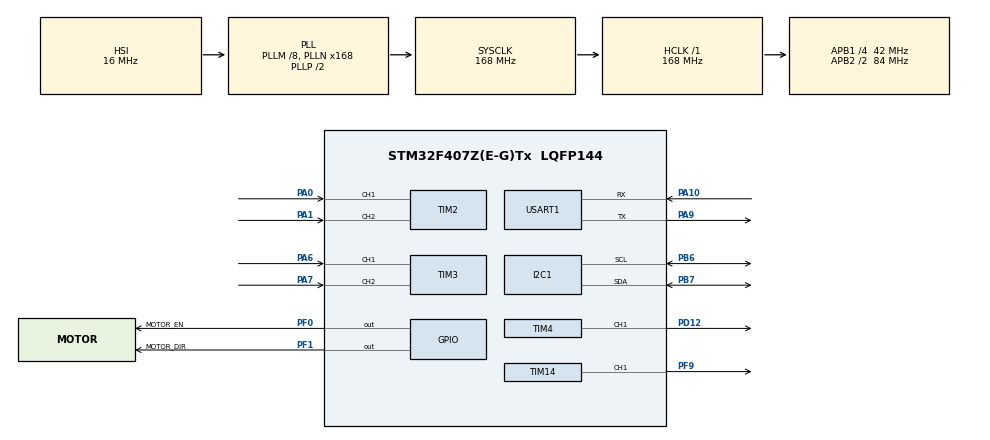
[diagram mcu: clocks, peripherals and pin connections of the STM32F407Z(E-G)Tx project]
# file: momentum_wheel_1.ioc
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I2C1.I2C_Mode=I2C_Fast
Mcu.Family=STM32F4
Mcu.Name=STM32F407Z(E-G)Tx
Mcu.Package=LQFP144
NVIC.PriorityGroup=NVIC_PRIORITYGROUP_4
NVIC.TIM6_DAC_IRQn=true\:0\:0\:false\:false\:true\:true\:true
NVIC.TIM7_IRQn=true\:0\:0\:false\:false\:true\:true\:true
NVIC.USART1_IRQn=true\:0\:0\:false\:false\:true\:true\:true
PA0-WKUP.Signal=S_TIM2_CH1_ETR
PA1.Signal=S_TIM2_CH2
PA10.Mode=Asynchronous
PA10.Signal=USART1_RX
PA13.Mode=JTAG_5_pins
PA13.Signal=SYS_JTMS-SWDIO
PA14.Mode=JTAG_5_pins
PA14.Signal=SYS_JTCK-SWCLK
PA15.Mode=JTAG_5_pins
PA15.Signal=SYS_JTDI
PA6.Signal=S_TIM3_CH1
PA7.Signal=S_TIM3_CH2
PA9.Mode=Asynchronous
PA9.Signal=USART1_TX
PB3.Mode=JTAG_5_pins
PB3.Signal=SYS_JTDO-SWO
PB4.Mode=JTAG_5_pins
PB4.Signal=SYS_JTRST
PB6.Mode=I2C
PB6.Signal=I2C1_SCL
PB7.Mode=I2C
PB7.Signal=I2C1_SDA
PC14-OSC32_IN.Mode=LSE-External-Oscillator
PC14-OSC32_IN.Signal=RCC_OSC32_IN
PC15-OSC32_OUT.Mode=LSE-External-Oscillator
PC15-OSC32_OUT.Signal=RCC_OSC32_OUT
PD12.Signal=S_TIM4_CH1
PF0.GPIO_Label=MOTOR_EN
PF0.Signal=GPIO_Output
PF1.GPIO_Label=MOTOR_DIR
PF1.Signal=GPIO_Output
PF9.Signal=S_TIM14_CH1
PH0-OSC_IN.Mode=HSE-External-Oscillator
PH0-OSC_IN.Signal=RCC_OSC_IN
PH1-OSC_OUT.Mode=HSE-External-Oscillator
PH1-OSC_OUT.Signal=RCC_OSC_OUT
ProjectManager.HeapSize=0x200
ProjectManager.StackSize=0x400
ProjectManager.TargetToolchain=STM32CubeIDE
RCC.48MHZClocksFreq_Value=84000000
RCC.AHBFreq_Value=168000000
RCC.APB1CLKDivider=RCC_HCLK_DIV4
RCC.APB1Freq_Value=42000000
RCC.APB1TimFreq_Value=84000000
RCC.APB2CLKDivider=RCC_HCLK_DIV2
RCC.APB2Freq_Value=84000000
RCC.APB2TimFreq_Value=168000000
RCC.CortexFreq_Value=168000000
RCC.HCLKFreq_Value=168000000
RCC.HSE_VALUE=25000000
RCC.HSI_VALUE=16000000
RCC.PLLM=8
RCC.PLLN=168
RCC.SYSCLKFreq_VALUE=168000000
RCC.SYSCLKSource=RCC_SYSCLKSOURCE_PLLCLK
RCC.VCOOutputFreq_Value=336000000
SH.S_TIM14_CH1.0=TIM14_CH1,PWM Generation1 CH1
SH.S_TIM2_CH1_ETR.0=TIM2_CH1,Encoder_Interface
SH.S_TIM2_CH2.0=TIM2_CH2,Encoder_Interface
SH.S_TIM3_CH1.0=TIM3_CH1,Encoder_Interface
SH.S_TIM3_CH2.0=TIM3_CH2,Encoder_Interface
SH.S_TIM4_CH1.0=TIM4_CH1,PWM Generation1 CH1
TIM14.AutoReloadPreload=TIM_AUTORELOAD_PRELOAD_ENABLE
TIM14.Channel=TIM_CHANNEL_1
TIM14.Period=1000
TIM14.Prescaler=168
TIM2.EncoderMode=TIM_ENCODERMODE_TI12
TIM2.IC2Filter=15
TIM3.EncoderMode=TIM_ENCODERMODE_TI12
TIM3.IC2Filter=15
TIM4.AutoReloadPreload=TIM_AUTORELOAD_PRELOAD_ENABLE
TIM4.Channel-PWM\ Generation1\ CH1=TIM_CHANNEL_1
TIM4.Period=1000
TIM6.Period=10000
TIM6.Prescaler=1680
TIM7.Period=100
TIM7.Prescaler=168
USART1.VirtualMode=VM_ASYNC
VP_TIM14_VS_ClockSourceINT.Mode=Enable_Timer
VP_TIM6_VS_ClockSourceINT.Mode=Enable_Timer
VP_TIM7_VS_ClockSourceINT.Mode=Enable_Timer
board=custom

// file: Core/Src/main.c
/* USER CODE BEGIN Header */
/**
  ******************************************************************************
  * @file           : main.c
  * @brief          : Main program body
  ******************************************************************************
  * @attention
                                                                                                                                                                                  `````````````````
  * <h2><center>&copy; Copyright (c) 2021 STMicroelectronics.
  * All rights reserved.</center></h2>
  *
  * This software component is licensed by ST under BSD 3-Clause license,
  * the "License"; You may not use this file except in compliance with the
  * License. You may obtain a copy of the License at:
  *                        opensource.org/licenses/BSD-3-Clause
  *
  ******************************************************************************
*/
/* USER CODE END Header */
#include "main.h"
#include "i2c.h"
#include "tim.h"
#include "usart.h"
#include "gpio.h"

/* USER CODE BEGIN Includes */
#include "motor.h"
#include <stdio.h>
#include "controller.h"
#include "angular.h"

/* USER CODE END Includes */

/* USER CODE BEGIN PV */
uint8_t UART_Receive_buffer[4] = {0, 0, 0, 0};
/* USER CODE END PV */

void SystemClock_Config(void);

/* USER CODE BEGIN 0 */
Motor motor;
Angular angular;
Controller contorller;

uint32_t start_flag = 1;
/* USER CODE END 0 */

int main(void) {

  /* MCU Configuration--------------------------------------------------------*/

  /* Reset of all peripherals, Initializes the Flash interface and the Systick. */
  HAL_Init();

  /* Configure the system clock */
  SystemClock_Config();

  /* Initialize all configured peripherals */
  MX_GPIO_Init();
  MX_USART1_UART_Init();
  MX_I2C1_Init();
  MX_TIM2_Init();
  MX_TIM3_Init();
  MX_TIM4_Init();
  MX_TIM6_Init();
  MX_TIM14_Init();
  MX_TIM7_Init();
  /* USER CODE BEGIN 2 */

  HAL_UART_Receive_IT(&huart1, UART_Receive_buffer, 4);

  Motor_init(&motor,
             &htim14,
             TIM_CHANNEL_1,
             &htim3,
             &htim6,
             MOTOR_EN_GPIO_Port,
             MOTOR_EN_Pin,
             MOTOR_DIR_GPIO_Port,
             MOTOR_DIR_Pin);

  Angular_init(&angular, &htim2);

  Controller_init(&contorller, &htim7, &motor, &angular);
  /* USER CODE END 2 */

  /* Infinite loop */
  while (1) {
    Controller_pid(&contorller, 100);
    /* USER CODE BEGIN 3 */
//    uint16_t temp = MPU6050_Get_Data(0X43);
  }
  /* USER CODE END 3 */
}

void SystemClock_Config(void) {
  RCC_OscInitTypeDef RCC_OscInitStruct = {0};
  RCC_ClkInitTypeDef RCC_ClkInitStruct = {0};

  /** Configure the main internal regulator output voltage
  */
  __HAL_RCC_PWR_CLK_ENABLE();
  __HAL_PWR_VOLTAGESCALING_CONFIG(PWR_REGULATOR_VOLTAGE_SCALE1);
  /** Initializes the RCC Oscillators according to the specified parameters
  * in the RCC_OscInitTypeDef structure.
  */
  RCC_OscInitStruct.OscillatorType = RCC_OSCILLATORTYPE_HSI;
  RCC_OscInitStruct.HSIState = RCC_HSI_ON;
  RCC_OscInitStruct.HSICalibrationValue = RCC_HSICALIBRATION_DEFAULT;
  RCC_OscInitStruct.PLL.PLLState = RCC_PLL_ON;
  RCC_OscInitStruct.PLL.PLLSource = RCC_PLLSOURCE_HSI;
  RCC_OscInitStruct.PLL.PLLM = 8;
  RCC_OscInitStruct.PLL.PLLN = 168;
  RCC_OscInitStruct.PLL.PLLP = RCC_PLLP_DIV2;
  RCC_OscInitStruct.PLL.PLLQ = 4;
  if (HAL_RCC_OscConfig(&RCC_OscInitStruct) != HAL_OK) {
    Error_Handler();
  }
  /** Initializes the CPU, AHB and APB buses clocks
  */
  RCC_ClkInitStruct.ClockType = RCC_CLOCKTYPE_HCLK | RCC_CLOCKTYPE_SYSCLK
    | RCC_CLOCKTYPE_PCLK1 | RCC_CLOCKTYPE_PCLK2;
  RCC_ClkInitStruct.SYSCLKSource = RCC_SYSCLKSOURCE_PLLCLK;
  RCC_ClkInitStruct.AHBCLKDivider = RCC_SYSCLK_DIV1;
  RCC_ClkInitStruct.APB1CLKDivider = RCC_HCLK_DIV4;
  RCC_ClkInitStruct.APB2CLKDivider = RCC_HCLK_DIV2;

  if (HAL_RCC_ClockConfig(&RCC_ClkInitStruct, FLASH_LATENCY_5) != HAL_OK) {
    Error_Handler();
  }
}

/* USER CODE BEGIN 4 */

void HAL_TIM_PeriodElapsedCallback(TIM_HandleTypeDef *htim) {
  if (!start_flag) return;
  if (htim == &htim6) {
    Motor_update_cur_state(&motor, 10);
  } else if (htim == &htim7) {

//    printf("%ld", Angular_get_cur_angle(&angular));
  }
}

void HAL_UART_RxCpltCallback(UART_HandleTypeDef *huart) {
  if (huart->Instance == USART1) {
    if (UART_Receive_buffer[0] == '0') {
      start_flag = 1;
    }
    if (UART_Receive_buffer[0] == '1') {
      uint32_t
        num = (UART_Receive_buffer[1] - '0') * 100 + (UART_Receive_buffer[2] - '0') * 10 + UART_Receive_buffer[3] - '0';
      Motor_set_pwm(&motor, num);
    }

    HAL_UART_Receive_IT(&huart1, UART_Receive_buffer, 4);
  }
}
/* USER CODE END 4 */

void Error_Handler(void) {
  __disable_irq();
  while (1) {
  }
}

/************************ (C) COPYRIGHT STMicroelectronics *****END OF FILE****/
